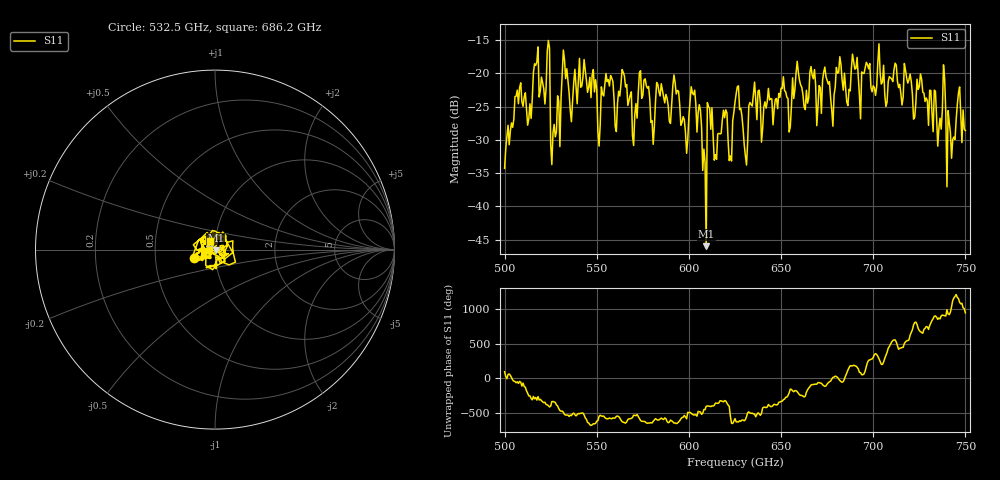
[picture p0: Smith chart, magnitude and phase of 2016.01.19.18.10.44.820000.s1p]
!Created with skrf (http://scikit-rf.org).
# GHz S RI R 50.0
!freq ReS11 ImS11
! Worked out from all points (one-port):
!   401 points, 500 GHz to 750 GHz, reference 50 ohm
!   lowest |S11| = -46.0 dB at 609.4 GHz (marker M1), VSWR 1.01, Z = 50.4 - j0.34 ohm
!   |S11| at or under -10 dB: start of sweep to end of sweep
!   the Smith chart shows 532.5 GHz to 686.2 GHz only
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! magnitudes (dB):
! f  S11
! 500 GHz  -34.3
! 507.5 GHz  -24.6
! 513.8 GHz  -24.6
! 516.9 GHz  -18.8
! 523.1 GHz  -16.7
! 526.2 GHz  -29.0
! 531.2 GHz  -20.2
! 562.5 GHz  -23.4
! 570.6 GHz  -26.2
! 574.4 GHz  -23.7
! 580.6 GHz  -30.7
! 593.8 GHz  -22.6
! 598.1 GHz  -28.8
! 602.5 GHz  -23.2
! 609.4 GHz  -46.0
! 611.2 GHz  -25.2
! 622.5 GHz  -32.4
! 625 GHz  -24.3
! 630.6 GHz  -32.4
! 634.4 GHz  -24.9
! 656.2 GHz  -20.7
! 687.5 GHz  -22.6
! 718.8 GHz  -21.5
! 735.6 GHz  -28.3
! 738.1 GHz  -18.7
! 741.2 GHz  -27.4
! 746.2 GHz  -22.9
! 750 GHz  -28.6
